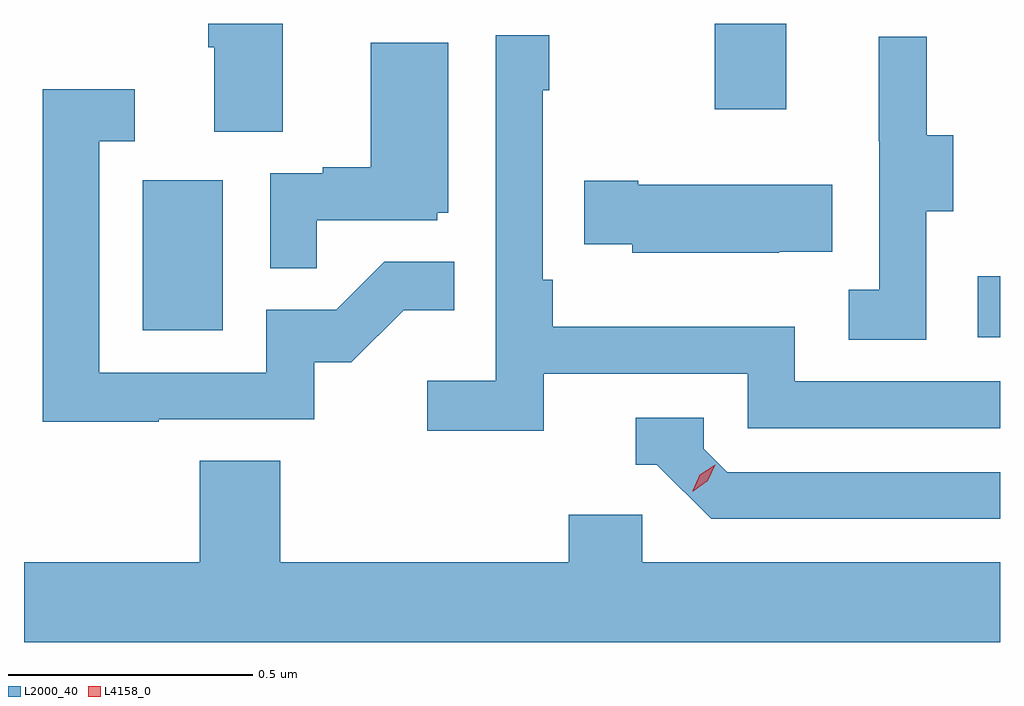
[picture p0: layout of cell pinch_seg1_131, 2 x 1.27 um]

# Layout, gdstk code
import gdstk
lib = gdstk.Library(unit=1e-6, precision=1e-09)
def R(c, l, rs):  # rectangles x0, y0, x1, y1
    for r in rs: c.add(gdstk.rectangle(r[:2], r[2:], *l))
def P(c, l, *ps):  # polygons
    for p in ps: c.add(gdstk.Polygon(p, *l))
L2000_40 = (2000, 40)
L4158_0 = (4158, 0)

pinch_seg1_131 = lib.new_cell('pinch_seg1_131')
R(pinch_seg1_131, L2000_40, [(1047.705,552.357,1047.751,552.482), (1045.994,552.372,1046.158,552.679), (1047.166,552.825,1047.313,553)])
P(pinch_seg1_131, L2000_40, [(1046.281,553),(1046.129,553),(1046.129,552.952),(1046.141,552.952),(1046.141,552.778),(1046.281,552.778)],
  [(1046.816,552.282),(1047.234,552.282),(1047.234,552.171),(1047.751,552.171),(1047.751,552.267),(1047.33,552.267),(1047.33,552.379),(1046.834,552.379),(1046.834,552.475),(1046.814,552.475),(1046.814,552.863),(1046.827,552.863),(1046.827,552.976),(1046.718,552.976),(1046.718,552.268),(1046.577,552.268),(1046.577,552.166),(1046.816,552.166)],
  [(1047.6,552.616),(1047.655,552.616),(1047.655,552.771),(1047.601,552.771),(1047.601,552.973),(1047.503,552.973),(1047.503,552.759),(1047.504,552.759),(1047.504,552.455),(1047.441,552.455),(1047.441,552.352),(1047.6,552.352)],
  [(1046.351,552.597),(1046.598,552.597),(1046.598,552.612),(1046.62,552.612),(1046.62,552.961),(1046.462,552.961),(1046.462,552.706),(1046.363,552.706),(1046.363,552.693),(1046.256,552.693),(1046.256,552.499),(1046.351,552.499)],
  [(1046.027,552.189),(1046.346,552.189),(1046.346,552.306),(1046.422,552.306),(1046.529,552.413),(1046.633,552.413),(1046.633,552.512),(1046.489,552.512),(1046.391,552.414),(1046.247,552.414),(1046.247,552.285),(1045.905,552.285),(1045.905,552.759),(1045.978,552.759),(1045.978,552.865),(1045.789,552.865),(1045.789,552.184),(1046.027,552.184)],
  [(1047.299,552.533),(1047.407,552.533),(1047.407,552.67),(1047.01,552.67),(1047.01,552.678),(1046.899,552.678),(1046.899,552.548),(1046.997,552.548),(1046.997,552.53),(1047.299,552.53)],
  [(1047.751,552.081),(1047.192,552.081),(1047.144,552.129),(1047.144,552.192),(1047.005,552.192),(1047.005,552.096),(1047.048,552.096),(1047.159,551.985),(1047.751,551.985)],
  [(1047.751,551.896),(1047.018,551.896),(1047.018,551.994),(1046.867,551.994),(1046.867,551.896),(1046.276,551.896),(1046.276,552.104),(1046.111,552.104),(1046.111,551.896),(1045.751,551.896),(1045.751,551.732),(1047.751,551.732)])
P(pinch_seg1_131, L4158_0, [(1047.121,552.042),(1047.121,552.043),(1047.136,552.076),(1047.167,552.096),(1047.167,552.096),(1047.167,552.096),(1047.152,552.063),(1047.122,552.042)])

lib.write_gds('pinch_seg1_131.gds')
